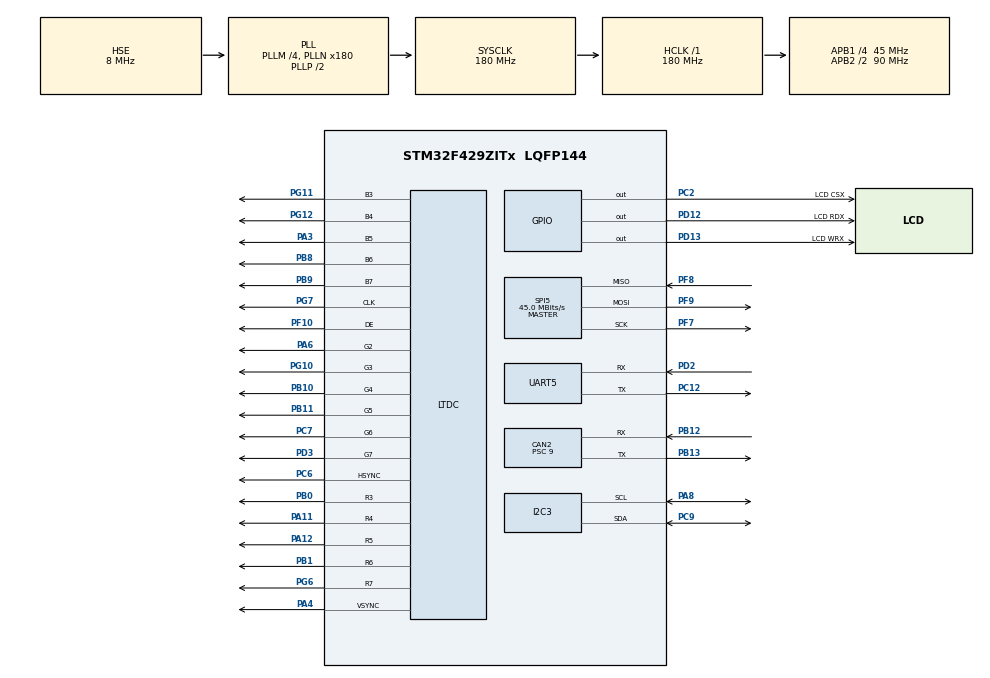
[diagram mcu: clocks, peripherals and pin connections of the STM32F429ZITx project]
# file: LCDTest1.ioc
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Mcu.Family=STM32F4
PD12.GPIO_Label=LCD RDX
PA6.Mode=RGB565
RCC.CortexFreq_Value=180000000
PG6.Signal=LTDC_R7
NVIC.CAN2_RX0_IRQn=true\:0\:0\:false\:false\:true\:true\:true
PB10.Mode=RGB565
LTDC.HBP=20
CAN2.CalculateTimeBit=4000.00
PC10.Signal=LTDC_R2
PC12.Signal=UART5_TX
PA11.Mode=RGB565
PB11.Signal=LTDC_G5
PB13.Signal=CAN2_TX
PG6.Mode=RGB565
PG11.Signal=LTDC_B3
RCC.SYSCLKSource=RCC_SYSCLKSOURCE_PLLCLK
ProjectManager.StackSize=0x400
PD13.Signal=GPIO_Output
PA12.Signal=LTDC_R5
PA4.Mode=RGB565
PF7.Signal=SPI5_SCK
PH0/OSC_IN.Mode=HSE-External-Oscillator
RCC.HCLKFreq_Value=180000000
RCC.APB2TimFreq_Value=180000000
PC7.Signal=LTDC_G6
LTDC.WindowX1_L0=240
PH1/OSC_OUT.Signal=RCC_OSC_OUT
RCC.AHBFreq_Value=180000000
RCC.HSE_VALUE=8000000
LTDC.PixelFormat_L0=LTDC_PIXEL_FORMAT_RGB565
PF9.Mode=Full_Duplex_Master
CAN2.Prescaler=9
PC9.Mode=I2C
LTDC.HFP=10
PA8.Signal=I2C3_SCL
PF8.Mode=Full_Duplex_Master
PD3.Mode=RGB565
LTDC.ActiveW=240
PH1/OSC_OUT.Mode=HSE-External-Oscillator
LTDC.HSync=10
PD13.GPIO_Label=LCD WRX
Mcu.Package=LQFP144
PB9.Signal=LTDC_B7
SPI5.BaudRatePrescaler=SPI_BAUDRATEPRESCALER_2
PB1.Signal=LTDC_R6
PA6.Signal=LTDC_G2
PB12.Mode=CAN_Activate
CAN2.BS1=CAN_BS1_16TQ
CAN2.BS2=CAN_BS2_3TQ
PD12.Signal=GPIO_Output
PF8.Signal=SPI5_MISO
RCC.PLLSAIN=60
SPI5.CalculateBaudRate=45.0 MBits/s
RCC.PLLSAIR=5
RCC.APB2CLKDivider=RCC_HCLK_DIV2
LTDC.VSync=2
RCC.APB1TimFreq_Value=90000000
PF10.Mode=RGB565
PB13.Mode=CAN_Activate
PD6.Signal=LTDC_B2
PC2.GPIO_Label=LCD CSX
SPI5.VirtualType=VM_MASTER
PA3.Signal=LTDC_B5
PG12.Signal=LTDC_B4
RCC.PLLSourceVirtual=RCC_PLLSOURCE_HSE
CAN2.CalculateBaudRate=250000
LTDC.VFP=4
LTDC.WindowY1_L0=320
PG7.Signal=LTDC_CLK
PD3.Signal=LTDC_G7
PC2.Signal=GPIO_Output
PC6.Signal=LTDC_HSYNC
PG10.Mode=RGB565
UART5.VirtualMode=Asynchronous
RCC.APB1CLKDivider=RCC_HCLK_DIV4
SPI5.Mode=SPI_MODE_MASTER
PG10.Signal=LTDC_G3
LTDC.ImageWidth_L0=240
PA3.Mode=RGB565
PF7.Mode=Full_Duplex_Master
PB11.Mode=RGB565
ProjectManager.TargetToolchain=STM32CubeIDE
LTDC.ActiveH=320
PC6.Mode=RGB565
PB9.Mode=RGB565
PG7.Mode=RGB565
RCC.LSE_VALUE=32768
PB10.Signal=LTDC_G4
PD2.Mode=Asynchronous
PC12.Mode=Asynchronous
PB0.Mode=RGB565
board=custom
PG12.Mode=RGB565
RCC.VCOOutputFreq_Value=360000000
PH0/OSC_IN.Signal=RCC_OSC_IN
RCC.APB2Freq_Value=90000000
LTDC.Layers=0
PF10.Signal=LTDC_DE
CAN2.CalculateTimeQuantum=200.0
Mcu.Name=STM32F429ZITx
RCC.48MHZClocksFreq_Value=90000000
PA4.Signal=LTDC_VSYNC
RCC.SYSCLKFreq_VALUE=180000000
PA12.Mode=RGB565
SPI5.CRCCalculation=SPI_CRCCALCULATION_DISABLE
LTDC.Alpha_L0=255
PG11.Mode=RGB565
PA11.Signal=LTDC_R4
ProjectManager.HeapSize=0x200
PB1.Mode=RGB565
PF9.Signal=SPI5_MOSI
RCC.HSI_VALUE=16000000
NVIC.PriorityGroup=NVIC_PRIORITYGROUP_4
RCC.PLLM=4
PB8.Mode=RGB565
RCC.PLLN=180
PB8.Signal=LTDC_B6
PA8.Mode=I2C
PC9.Signal=I2C3_SDA
PC7.Mode=RGB565
PD2.Signal=UART5_RX
RCC.APB1Freq_Value=45000000
LTDC.ImageHeight_L0=320
PB0.Signal=LTDC_R3
PB12.Signal=CAN2_RX
SPI5.Direction=SPI_DIRECTION_2LINES

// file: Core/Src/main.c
/* USER CODE BEGIN Header */
/**
 ******************************************************************************
 * @file           : main.c
 * @brief          : Main program body
 ******************************************************************************
 * @attention
 *
 * <h2><center>&copy; Copyright (c) 2021 STMicroelectronics.
 * All rights reserved.</center></h2>
 *
 * This software component is licensed by ST under BSD 3-Clause license,
 * the "License"; You may not use this file except in compliance with the
 * License. You may obtain a copy of the License at:
 *                        opensource.org/licenses/BSD-3-Clause
 *
 ******************************************************************************
 */
/* USER CODE END Header */
#include "main.h"

/* USER CODE BEGIN Includes */
#include <stdio.h>
#include <string.h>

#include "ILI9341/ili9341.h"
#include "ILI9341/st_logo1.h"
#include "ILI9341/st_logo2.h"

/* USER CODE END Includes */

CAN_HandleTypeDef hcan2;

I2C_HandleTypeDef hi2c3;

LTDC_HandleTypeDef hltdc;

SPI_HandleTypeDef hspi5;

UART_HandleTypeDef huart5;

void SystemClock_Config(void);
static void MX_GPIO_Init(void);
static void MX_CAN2_Init(void);
static void MX_UART5_Init(void);
static void MX_I2C3_Init(void);
static void MX_SPI5_Init(void);
static void MX_LTDC_Init(void);

/* USER CODE BEGIN 0 */
int __io_putchar(int ch)
{
    if(HAL_UART_Transmit(&huart5, (uint8_t *)&ch, 1, 10) != HAL_OK)
        return -1;
    return ch;
}
/* USER CODE END 0 */

int main(void)
{

    /* MCU Configuration--------------------------------------------------------*/

    /* Reset of all peripherals, Initializes the Flash interface and the Systick. */
    HAL_Init();

    /* Configure the system clock */
    SystemClock_Config();

    /* Initialize all configured peripherals */
    MX_GPIO_Init();
    MX_CAN2_Init();
    MX_UART5_Init();
    MX_I2C3_Init();
    MX_SPI5_Init();
    MX_LTDC_Init();

    /* Infinite loop */
    while (1)
    {
        // printf("Hi~\r\n");
    }
}

void SystemClock_Config(void)
{
    RCC_OscInitTypeDef RCC_OscInitStruct = {0};
    RCC_ClkInitTypeDef RCC_ClkInitStruct = {0};
    RCC_PeriphCLKInitTypeDef PeriphClkInitStruct = {0};

    /** Configure the main internal regulator output voltage
    */
    __HAL_RCC_PWR_CLK_ENABLE();
    __HAL_PWR_VOLTAGESCALING_CONFIG(PWR_REGULATOR_VOLTAGE_SCALE1);
    /** Initializes the RCC Oscillators according to the specified parameters
     * in the RCC_OscInitTypeDef structure.
     */
    RCC_OscInitStruct.OscillatorType = RCC_OSCILLATORTYPE_HSE;
    RCC_OscInitStruct.HSEState = RCC_HSE_ON;
    RCC_OscInitStruct.PLL.PLLState = RCC_PLL_ON;
    RCC_OscInitStruct.PLL.PLLSource = RCC_PLLSOURCE_HSE;
    RCC_OscInitStruct.PLL.PLLM = 4;
    RCC_OscInitStruct.PLL.PLLN = 180;
    RCC_OscInitStruct.PLL.PLLP = RCC_PLLP_DIV2;
    RCC_OscInitStruct.PLL.PLLQ = 4;
    if (HAL_RCC_OscConfig(&RCC_OscInitStruct) != HAL_OK)
    {
        Error_Handler();
    }
    /** Activate the Over-Drive mode
    */
    if (HAL_PWREx_EnableOverDrive() != HAL_OK)
    {
        Error_Handler();
    }
    /** Initializes the CPU, AHB and APB buses clocks
    */
    RCC_ClkInitStruct.ClockType = RCC_CLOCKTYPE_HCLK|RCC_CLOCKTYPE_SYSCLK
        |RCC_CLOCKTYPE_PCLK1|RCC_CLOCKTYPE_PCLK2;
    RCC_ClkInitStruct.SYSCLKSource = RCC_SYSCLKSOURCE_PLLCLK;
    RCC_ClkInitStruct.AHBCLKDivider = RCC_SYSCLK_DIV1;
    RCC_ClkInitStruct.APB1CLKDivider = RCC_HCLK_DIV4;
    RCC_ClkInitStruct.APB2CLKDivider = RCC_HCLK_DIV2;

    if (HAL_RCC_ClockConfig(&RCC_ClkInitStruct, FLASH_LATENCY_5) != HAL_OK)
    {
        Error_Handler();
    }
    PeriphClkInitStruct.PeriphClockSelection = RCC_PERIPHCLK_LTDC;
    PeriphClkInitStruct.PLLSAI.PLLSAIN = 60;
    PeriphClkInitStruct.PLLSAI.PLLSAIR = 5;
    PeriphClkInitStruct.PLLSAIDivR = RCC_PLLSAIDIVR_2;
    if (HAL_RCCEx_PeriphCLKConfig(&PeriphClkInitStruct) != HAL_OK)
    {
        Error_Handler();
    }
}

static void MX_CAN2_Init(void)
{

    hcan2.Instance = CAN2;
    hcan2.Init.Prescaler = 9;
    hcan2.Init.Mode = CAN_MODE_NORMAL;
    hcan2.Init.SyncJumpWidth = CAN_SJW_1TQ;
    hcan2.Init.TimeSeg1 = CAN_BS1_16TQ;
    hcan2.Init.TimeSeg2 = CAN_BS2_3TQ;
    hcan2.Init.TimeTriggeredMode = DISABLE;
    hcan2.Init.AutoBusOff = DISABLE;
    hcan2.Init.AutoWakeUp = DISABLE;
    hcan2.Init.AutoRetransmission = DISABLE;
    hcan2.Init.ReceiveFifoLocked = DISABLE;
    hcan2.Init.TransmitFifoPriority = DISABLE;
    if (HAL_CAN_Init(&hcan2) != HAL_OK)
    {
        Error_Handler();
    }

}

static void MX_I2C3_Init(void)
{

    hi2c3.Instance = I2C3;
    hi2c3.Init.ClockSpeed = 100000;
    hi2c3.Init.DutyCycle = I2C_DUTYCYCLE_2;
    hi2c3.Init.OwnAddress1 = 0;
    hi2c3.Init.AddressingMode = I2C_ADDRESSINGMODE_7BIT;
    hi2c3.Init.DualAddressMode = I2C_DUALADDRESS_DISABLE;
    hi2c3.Init.OwnAddress2 = 0;
    hi2c3.Init.GeneralCallMode = I2C_GENERALCALL_DISABLE;
    hi2c3.Init.NoStretchMode = I2C_NOSTRETCH_DISABLE;
    if (HAL_I2C_Init(&hi2c3) != HAL_OK)
    {
        Error_Handler();
    }
    /** Configure Analogue filter
    */
    if (HAL_I2CEx_ConfigAnalogFilter(&hi2c3, I2C_ANALOGFILTER_ENABLE) != HAL_OK)
    {
        Error_Handler();
    }
    /** Configure Digital filter
    */
    if (HAL_I2CEx_ConfigDigitalFilter(&hi2c3, 0) != HAL_OK)
    {
        Error_Handler();
    }

}

static void MX_LTDC_Init(void)
{

    LTDC_LayerCfgTypeDef pLayerCfg = {0};

    /* USER CODE BEGIN LTDC_Init 1 */
    ili9341_Init();
    /* USER CODE END LTDC_Init 1 */
    hltdc.Instance = LTDC;
    hltdc.Init.HSPolarity = LTDC_HSPOLARITY_AL;
    hltdc.Init.VSPolarity = LTDC_VSPOLARITY_AL;
    hltdc.Init.DEPolarity = LTDC_DEPOLARITY_AL;
    hltdc.Init.PCPolarity = LTDC_PCPOLARITY_IPC;
    hltdc.Init.HorizontalSync = 9;
    hltdc.Init.VerticalSync = 1;
    hltdc.Init.AccumulatedHBP = 29;
    hltdc.Init.AccumulatedVBP = 3;
    hltdc.Init.AccumulatedActiveW = 269;
    hltdc.Init.AccumulatedActiveH = 323;
    hltdc.Init.TotalWidth = 279;
    hltdc.Init.TotalHeigh = 327;
    hltdc.Init.Backcolor.Blue = 0;
    hltdc.Init.Backcolor.Green = 0;
    hltdc.Init.Backcolor.Red = 0;
    if (HAL_LTDC_Init(&hltdc) != HAL_OK)
    {
        Error_Handler();
    }
    /* USER CODE BEGIN LTDC_Init 2 */
    memset(&pLayerCfg, 0, sizeof(LTDC_LayerCfgTypeDef));
    pLayerCfg.WindowX0 = 0;
    pLayerCfg.WindowX1 = 240;
    pLayerCfg.WindowY0 = 0;
    pLayerCfg.WindowY1 = 320;
    pLayerCfg.PixelFormat = LTDC_PIXEL_FORMAT_RGB565;
    pLayerCfg.Alpha = 255;
    pLayerCfg.Alpha0 = 0;
    pLayerCfg.BlendingFactor1 = LTDC_BLENDING_FACTOR1_CA;
    pLayerCfg.BlendingFactor2 = LTDC_BLENDING_FACTOR2_CA;
    pLayerCfg.FBStartAdress = (uint32_t)&ST_LOGO_1[0];
    pLayerCfg.ImageWidth = 240;
    pLayerCfg.ImageHeight = 160;
    pLayerCfg.Backcolor.Blue = 0;
    pLayerCfg.Backcolor.Green = 0;
    pLayerCfg.Backcolor.Red = 0;
    if (HAL_LTDC_ConfigLayer(&hltdc, &pLayerCfg, 0) != HAL_OK)
    {
        Error_Handler();
    }

    memset(&pLayerCfg, 0, sizeof(LTDC_LayerCfgTypeDef));
    pLayerCfg.WindowX0 = 0;
    pLayerCfg.WindowX1 = 240;
    pLayerCfg.WindowY0 = 160;
    pLayerCfg.WindowY1 = 320;
    pLayerCfg.PixelFormat = LTDC_PIXEL_FORMAT_RGB565;
    pLayerCfg.Alpha = 200;
    pLayerCfg.Alpha0 = 0;
    pLayerCfg.BlendingFactor1 = LTDC_BLENDING_FACTOR1_CA;
    pLayerCfg.BlendingFactor2 = LTDC_BLENDING_FACTOR2_CA;
    pLayerCfg.FBStartAdress = (uint32_t)&ST_LOGO_2[0];
    pLayerCfg.ImageWidth = 240;
    pLayerCfg.ImageHeight = 160;
    pLayerCfg.Backcolor.Blue = 0;
    pLayerCfg.Backcolor.Green = 0;
    pLayerCfg.Backcolor.Red = 0;
    if (HAL_LTDC_ConfigLayer(&hltdc, &pLayerCfg, 1) != HAL_OK)
    {
        Error_Handler();
    }
    /* USER CODE END LTDC_Init 2 */

}

static void MX_SPI5_Init(void)
{

    /* SPI5 parameter configuration*/
    hspi5.Instance = SPI5;
    hspi5.Init.Mode = SPI_MODE_MASTER;
    hspi5.Init.Direction = SPI_DIRECTION_2LINES;
    hspi5.Init.DataSize = SPI_DATASIZE_8BIT;
    hspi5.Init.CLKPolarity = SPI_POLARITY_LOW;
    hspi5.Init.CLKPhase = SPI_PHASE_1EDGE;
    hspi5.Init.NSS = SPI_NSS_SOFT;
    hspi5.Init.BaudRatePrescaler = SPI_BAUDRATEPRESCALER_2;
    hspi5.Init.FirstBit = SPI_FIRSTBIT_MSB;
    hspi5.Init.TIMode = SPI_TIMODE_DISABLE;
    hspi5.Init.CRCCalculation = SPI_CRCCALCULATION_DISABLE;
    hspi5.Init.CRCPolynomial = 10;
    if (HAL_SPI_Init(&hspi5) != HAL_OK)
    {
        Error_Handler();
    }

}

static void MX_UART5_Init(void)
{

    huart5.Instance = UART5;
    huart5.Init.BaudRate = 115200;
    huart5.Init.WordLength = UART_WORDLENGTH_8B;
    huart5.Init.StopBits = UART_STOPBITS_1;
    huart5.Init.Parity = UART_PARITY_NONE;
    huart5.Init.Mode = UART_MODE_TX_RX;
    huart5.Init.HwFlowCtl = UART_HWCONTROL_NONE;
    huart5.Init.OverSampling = UART_OVERSAMPLING_16;
    if (HAL_UART_Init(&huart5) != HAL_OK)
    {
        Error_Handler();
    }

}

static void MX_GPIO_Init(void)
{
    GPIO_InitTypeDef GPIO_InitStruct = {0};

    /* GPIO Ports Clock Enable */
    __HAL_RCC_GPIOF_CLK_ENABLE();
    __HAL_RCC_GPIOH_CLK_ENABLE();
    __HAL_RCC_GPIOC_CLK_ENABLE();
    __HAL_RCC_GPIOA_CLK_ENABLE();
    __HAL_RCC_GPIOB_CLK_ENABLE();
    __HAL_RCC_GPIOD_CLK_ENABLE();
    __HAL_RCC_GPIOG_CLK_ENABLE();

    /*Configure GPIO pin Output Level */
    HAL_GPIO_WritePin(LCD_CSX_GPIO_Port, LCD_CSX_Pin, GPIO_PIN_RESET);

    /*Configure GPIO pin Output Level */
    HAL_GPIO_WritePin(GPIOD, LCD_RDX_Pin|LCD_WRX_Pin, GPIO_PIN_RESET);

    /*Configure GPIO pin : LCD_CSX_Pin */
    GPIO_InitStruct.Pin = LCD_CSX_Pin;
    GPIO_InitStruct.Mode = GPIO_MODE_OUTPUT_PP;
    GPIO_InitStruct.Pull = GPIO_NOPULL;
    GPIO_InitStruct.Speed = GPIO_SPEED_FREQ_LOW;
    HAL_GPIO_Init(LCD_CSX_GPIO_Port, &GPIO_InitStruct);

    /*Configure GPIO pins : LCD_RDX_Pin LCD_WRX_Pin */
    GPIO_InitStruct.Pin = LCD_RDX_Pin|LCD_WRX_Pin;
    GPIO_InitStruct.Mode = GPIO_MODE_OUTPUT_PP;
    GPIO_InitStruct.Pull = GPIO_NOPULL;
    GPIO_InitStruct.Speed = GPIO_SPEED_FREQ_LOW;
    HAL_GPIO_Init(GPIOD, &GPIO_InitStruct);

}

void Error_Handler(void)
{
    __disable_irq();
    while (1)
    {
    }
}

/************************ (C) COPYRIGHT STMicroelectronics *****END OF FILE****/
